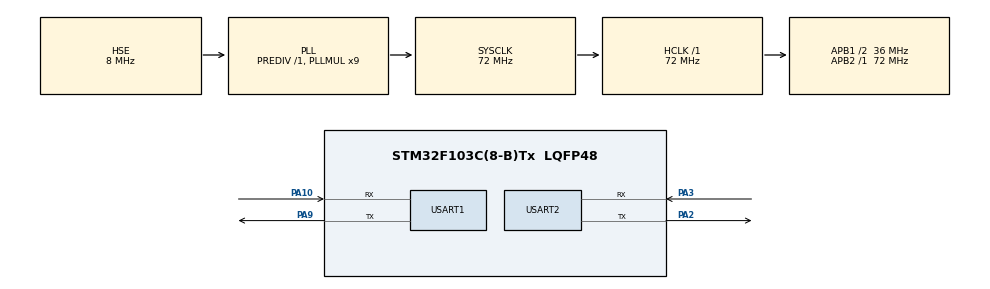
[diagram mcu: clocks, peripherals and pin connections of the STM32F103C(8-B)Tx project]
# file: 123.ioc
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Mcu.Family=STM32F1
Mcu.Name=STM32F103C(8-B)Tx
Mcu.Package=LQFP48
NVIC.PriorityGroup=NVIC_PRIORITYGROUP_4
NVIC.TIM2_IRQn=true\:0\:0\:false\:false\:true\:true
NVIC.USART1_IRQn=true\:0\:0\:false\:false\:true\:true
NVIC.USART2_IRQn=true\:0\:0\:false\:false\:true\:true
PA10.Mode=Asynchronous
PA10.Signal=USART1_RX
PA13.Mode=Serial_Wire
PA13.Signal=SYS_JTMS-SWDIO
PA14.Mode=Serial_Wire
PA14.Signal=SYS_JTCK-SWCLK
PA2.Mode=Asynchronous
PA2.Signal=USART2_TX
PA3.Mode=Asynchronous
PA3.Signal=USART2_RX
PA9.Mode=Asynchronous
PA9.Signal=USART1_TX
PC14-OSC32_IN.Mode=LSE-External-Oscillator
PC14-OSC32_IN.Signal=RCC_OSC32_IN
PC15-OSC32_OUT.Mode=LSE-External-Oscillator
PC15-OSC32_OUT.Signal=RCC_OSC32_OUT
PD0-OSC_IN.Mode=HSE-External-Oscillator
PD0-OSC_IN.Signal=RCC_OSC_IN
PD1-OSC_OUT.Mode=HSE-External-Oscillator
PD1-OSC_OUT.Signal=RCC_OSC_OUT
ProjectManager.HeapSize=0x200
ProjectManager.StackSize=0x400
ProjectManager.TargetToolchain=MDK-ARM V5
RCC.AHBFreq_Value=72000000
RCC.APB1CLKDivider=RCC_HCLK_DIV2
RCC.APB1Freq_Value=36000000
RCC.APB1TimFreq_Value=72000000
RCC.APB2Freq_Value=72000000
RCC.APB2TimFreq_Value=72000000
RCC.HCLKFreq_Value=72000000
RCC.PLLMUL=RCC_PLL_MUL9
RCC.PLLSourceVirtual=RCC_PLLSOURCE_HSE
RCC.SYSCLKFreq_VALUE=72000000
RCC.SYSCLKSource=RCC_SYSCLKSOURCE_PLLCLK
RCC.USBFreq_Value=72000000
TIM2.Period=20000-1
TIM2.Prescaler=32000-1
USART1.VirtualMode=VM_ASYNC
USART2.VirtualMode=VM_ASYNC
VP_TIM2_VS_ClockSourceINT.Mode=Internal
board=custom

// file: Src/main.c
/* USER CODE BEGIN Header */
/**
 ******************************************************************************
 * @file           : main.c
 * @brief          : Main program body
 ******************************************************************************
 ** This notice applies to any and all portions of this file
 * that are not between comment pairs USER CODE BEGIN and
 * USER CODE END. Other portions of this file, whether
 * inserted by the user or by software development tools
 * are owned by their respective copyright owners.
 *
 * COPYRIGHT(c) 2018 STMicroelectronics
 *
 * Redistribution and use in source and binary forms, with or without
 *modification, are permitted provided that the following conditions are met:
 *   1. Redistributions of source code must retain the above copyright notice,
 *      this list of conditions and the following disclaimer.
 *   2. Redistributions in binary form must reproduce the above copyright
 *notice, this list of conditions and the following disclaimer in the
 *documentation and/or other materials provided with the distribution.
 *   3. Neither the name of STMicroelectronics nor the names of its contributors
 *      may be used to endorse or promote products derived from this software
 *      without specific prior written permission.
 *
 * THIS SOFTWARE IS PROVIDED BY THE COPYRIGHT HOLDERS AND CONTRIBUTORS "AS IS"
 * AND ANY EXPRESS OR IMPLIED WARRANTIES, INCLUDING, BUT NOT LIMITED TO, THE
 * IMPLIED WARRANTIES OF MERCHANTABILITY AND FITNESS FOR A PARTICULAR PURPOSE
 *ARE DISCLAIMED. IN NO EVENT SHALL THE COPYRIGHT HOLDER OR CONTRIBUTORS BE
 *LIABLE FOR ANY DIRECT, INDIRECT, INCIDENTAL, SPECIAL, EXEMPLARY, OR
 *CONSEQUENTIAL DAMAGES (INCLUDING, BUT NOT LIMITED TO, PROCUREMENT OF
 *SUBSTITUTE GOODS OR SERVICES; LOSS OF USE, DATA, OR PROFITS; OR BUSINESS
 *INTERRUPTION) HOWEVER CAUSED AND ON ANY THEORY OF LIABILITY, WHETHER IN
 *CONTRACT, STRICT LIABILITY, OR TORT (INCLUDING NEGLIGENCE OR OTHERWISE)
 *ARISING IN ANY WAY OUT OF THE USE OF THIS SOFTWARE, EVEN IF ADVISED OF THE
 *POSSIBILITY OF SUCH DAMAGE.
 *
 ******************************************************************************
 */
/* USER CODE END Header */

#include "main.h"
#include "gpio.h"
#include "tim.h"
#include "usart.h"

/* USER CODE BEGIN Includes */
#include "end.h"
#include "onenet.h"
#include "stdio.h"
#include "string.h"
/* USER CODE END Includes */

/* USER CODE BEGIN PV */
int tcounter = 0;
extern uint32_t TimeTick;
DevState_e DevState = Dev_Init;
/* USER CODE END PV */

void SystemClock_Config(void);
/* USER CODE BEGIN PFP */
static void Usart_Send1(uint8_t *buff, uint8_t size) {
  HAL_UART_Transmit(Usart_Z.huart, buff, size, 10);
}
static void NextRx1(void) {
  memset(Usart_Z.buff, 0, sizeof(Usart_Z.buff));
  Usart_Z.len = 0;
  __HAL_UART_ENABLE_IT(Usart_Z.huart, UART_IT_RXNE);
  __HAL_UART_CLEAR_IDLEFLAG(Usart_Z.huart);
  Usart_Z.State = RxReady;
}

static void Usart_Send2(uint8_t *buff, uint8_t size) {
  HAL_UART_Transmit(Usart_E.huart, buff, size, 10);
}
static void NextRx2(void) {
  memset(Usart_E.buff, 0, sizeof(Usart_E.buff));
  Usart_E.len = 0;
  __HAL_UART_ENABLE_IT(Usart_E.huart, UART_IT_RXNE);
  __HAL_UART_CLEAR_IDLEFLAG(Usart_E.huart);
  Usart_E.State = RxReady;
}
static void Board_Init() {
  Head.IsNet = false;
  Usart_Z.huart = &huart1;
  Usart_Z.Send = Usart_Send1;
  Usart_Z.Rx = NextRx1;
  Usart_Z.Rx();
  Usart_E.huart = &huart2;
  Usart_E.Send = Usart_Send2;
  Usart_E.Rx = NextRx2;
  Usart_E.Rx();
  Head.Process = EndMsg;
  HAL_TIM_Base_Start_IT(&htim2);
}
/* USER CODE END PFP */

int main(void) {

  /* MCU Configuration--------------------------------------------------------*/

  /* Reset of all peripherals, Initializes the Flash interface and the Systick.
   */
  HAL_Init();

  /* Configure the system clock */
  SystemClock_Config();

  /* Initialize all configured peripherals */
  MX_GPIO_Init();
  MX_TIM2_Init();
  MX_USART1_UART_Init();
  MX_USART2_UART_Init();
  /* USER CODE BEGIN 2 */

  Board_Init();
  ETH_Init();
  /* USER CODE END 2 */

  /* Infinite loop */
  while (1) {
    ETHDev.Process();
    Head.Process();
    switch (DevState) {
      case Dev_Init:
        DevState = DevJoin;
        break;
      case DevJoin:
        if (Head.IsNet == false && (TimeTick % 5000) == 0) {
          ETHDev.Connect();
					DevState = DevRun;
        }
        break;
      case DevRun:
        if (Head.IsNet == false) {
          DevState = DevJoin;
          break;
        } else if (tcounter >= 6 && Head.IsNet == true) {
          ETHDev.SendValue("Online_Device", Head.end_num);
//          for (int i = 0; i < Head.end_num; i++) {
            // SendStringToOnenet(Head.save_end[i]);
//          }
        }
        break;
      default:
				DevState = Dev_Init;
        break;
    }
    // if (state2 == 0x03)
    // {
    //     IsOnenetCmd(rxbuf2);
    //     state2 = 0x01;
    //     memset(rxbuf2, 0, 50);
    //     __HAL_UART_ENABLE_IT(&huart2, UART_IT_RXNE);
    // }
    // if (tcounter >= 6 && Head.online_state == 1)
    // {
    //     SendValueToOnenet("Online_Device", Head.end_num);
    //     for (int i = 0; i < Head.end_num; i++)
    //     {
    //         SendStringToOnenet(Head.save_end[i]);
    //     }
    //     tcounter = 0;
    // }
    // if (state1 == 0x03)
    // {
    //     EndMsg((const uint8_t *)rxbuf1);
    //     state1 = 1;
    //     __HAL_UART_ENABLE_IT(&huart1, UART_IT_RXNE);
    // }
  }
}

void SystemClock_Config(void) {
  RCC_OscInitTypeDef RCC_OscInitStruct = {0};
  RCC_ClkInitTypeDef RCC_ClkInitStruct = {0};

  /**Initializes the CPU, AHB and APB busses clocks
   */
  RCC_OscInitStruct.OscillatorType = RCC_OSCILLATORTYPE_HSE;
  RCC_OscInitStruct.HSEState = RCC_HSE_ON;
  RCC_OscInitStruct.HSEPredivValue = RCC_HSE_PREDIV_DIV1;
  RCC_OscInitStruct.HSIState = RCC_HSI_ON;
  RCC_OscInitStruct.PLL.PLLState = RCC_PLL_ON;
  RCC_OscInitStruct.PLL.PLLSource = RCC_PLLSOURCE_HSE;
  RCC_OscInitStruct.PLL.PLLMUL = RCC_PLL_MUL9;
  if (HAL_RCC_OscConfig(&RCC_OscInitStruct) != HAL_OK) {
    Error_Handler();
  }
  /**Initializes the CPU, AHB and APB busses clocks
   */
  RCC_ClkInitStruct.ClockType = RCC_CLOCKTYPE_HCLK | RCC_CLOCKTYPE_SYSCLK |
                                RCC_CLOCKTYPE_PCLK1 | RCC_CLOCKTYPE_PCLK2;
  RCC_ClkInitStruct.SYSCLKSource = RCC_SYSCLKSOURCE_PLLCLK;
  RCC_ClkInitStruct.AHBCLKDivider = RCC_SYSCLK_DIV1;
  RCC_ClkInitStruct.APB1CLKDivider = RCC_HCLK_DIV2;
  RCC_ClkInitStruct.APB2CLKDivider = RCC_HCLK_DIV1;

  if (HAL_RCC_ClockConfig(&RCC_ClkInitStruct, FLASH_LATENCY_2) != HAL_OK) {
    Error_Handler();
  }
}

/* USER CODE BEGIN 4 */
void HAL_TIM_PeriodElapsedCallback(TIM_HandleTypeDef *htim) { tcounter++; }
/* USER CODE END 4 */

void Error_Handler(void) {
}

#ifdef USE_FULL_ASSERT
/**
 * @brief  Reports the name of the source file and the source line number
 *         where the assert_param error has occurred.
 * @param  file: pointer to the source file name
 * @param  line: assert_param error line source number
 * @retval None
 */
void assert_failed(uint8_t *file, uint32_t line) {
  /* USER CODE BEGIN 6 */
  /* User can add his own implementation to report the file name and line
   number, tex: printf("Wrong parameters value: file %s on line %d\r\n", file,
   line) */
  /* USER CODE END 6 */
}
#endif /* USE_FULL_ASSERT */

/************************ (C) COPYRIGHT STMicroelectronics *****END OF FILE****/
